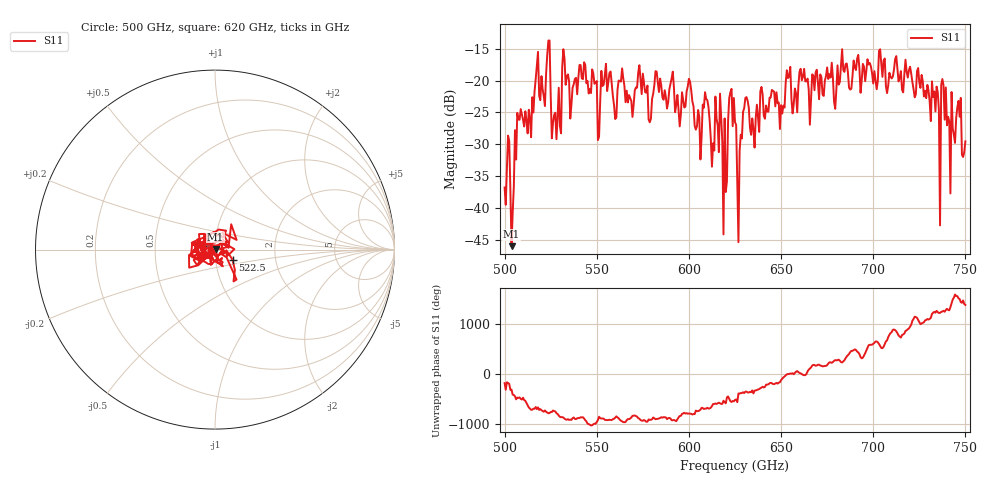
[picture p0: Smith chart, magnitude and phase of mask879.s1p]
!Created with skrf (http://scikit-rf.org).
# GHz S MA R 50.0
!freq magS11 angS11
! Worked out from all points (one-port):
!   401 points, 500 GHz to 750 GHz, reference 50 ohm
!   lowest |S11| = -45.9 dB at 503.8 GHz (marker M1), VSWR 1.01, Z = 50.3 + j0.413 ohm
!   |S11| at or under -10 dB: start of sweep to end of sweep
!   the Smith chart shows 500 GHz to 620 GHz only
!   S11 on the Smith chart (normalised r, x): 500 GHz: 0.97, -0.00; 522.5 GHz: 1.21, -0.14; 620 GHz: 0.98, +0.02
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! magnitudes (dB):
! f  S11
! 500 GHz  -36.7
! 503.8 GHz  -45.9
! 508.1 GHz  -26.1
! 522.5 GHz  -19.0
! 523.8 GHz  -13.8
! 526.9 GHz  -25.4
! 531.2 GHz  -17.9
! 542.5 GHz  -19.8
! 550.6 GHz  -29.3
! 562.5 GHz  -20.1
! 593.8 GHz  -22.3
! 600 GHz  -19.7
! 605.6 GHz  -25.7
! 609.4 GHz  -22.9
! 620 GHz  -37.4
! 622.5 GHz  -21.8
! 625 GHz  -26.5
! 627.5 GHz  -31.0
! 630.6 GHz  -22.7
! 634.4 GHz  -25.9
! 656.2 GHz  -25.1
! 687.5 GHz  -21.4
! 718.8 GHz  -19.5
! 735 GHz  -21.8
! 738.1 GHz  -20.8
! 743.1 GHz  -27.5
! 746.2 GHz  -23.2
! 750 GHz  -29.5
